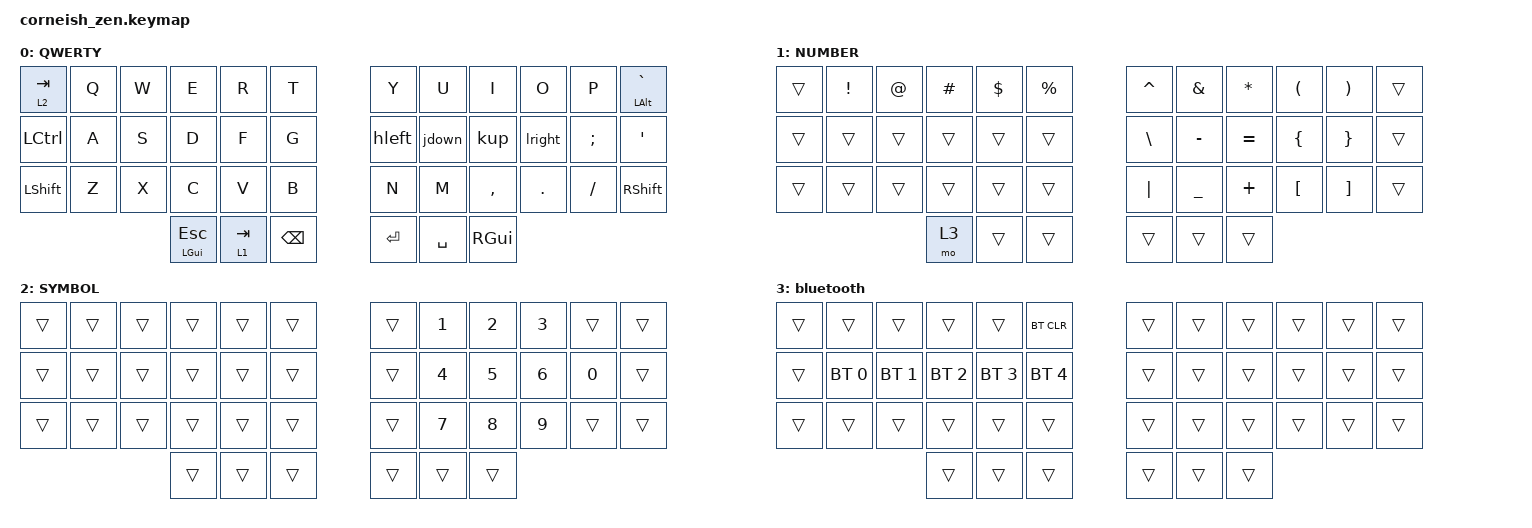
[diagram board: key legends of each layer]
/*
*
* Copyright (c) 2021 Darryl deHaan
* SPDX-License-Identifier: MIT
*
*/

#include <behaviors.dtsi>
#include <dt-bindings/zmk/bt.h>
#include <dt-bindings/zmk/keys.h>

/ {
    chosen {
        zmk,matrix-transform = &default_transform;

        // zmk,matrix-transform = &five_column_transform;
    };
};

/ {
    behaviors {
        hleft: hleft {
            compatible = "zmk,behavior-mod-morph";
            label = "HLEFT";
            bindings = <&kp H>, <&kp LEFT_ARROW>;

            #binding-cells = <0>;
            mods = <(MOD_LCTL)>;
        };

        jdown: jdown {
            compatible = "zmk,behavior-mod-morph";
            label = "JDOWN";
            bindings = <&kp J>, <&kp DOWN_ARROW>;

            #binding-cells = <0>;
            mods = <(MOD_LCTL)>;
        };

        kup: kup {
            compatible = "zmk,behavior-mod-morph";
            label = "KUP";
            bindings = <&kp K>, <&kp UP_ARROW>;

            #binding-cells = <0>;
            mods = <(MOD_LCTL)>;
        };

        lright: lright {
            compatible = "zmk,behavior-mod-morph";
            label = "LRIGHT";
            bindings = <&kp L>, <&kp RIGHT_ARROW>;

            #binding-cells = <0>;
            mods = <(MOD_LCTL)>;
        };

        ctrltab: ctrltab {
            compatible = "zmk,behavior-mod-morph";
            label = "CTRLTAB";
            bindings = <&kp LCTRL>, <&kp TAB>;

            #binding-cells = <0>;
            mods = <(MOD_LGUI|MOD_RGUI)>;
        };
    };

    keymap {
        compatible = "zmk,keymap";

        default_layer {
            display-name = "QWERTY";

            // --------------------------------------------------------------------------------
            // |  TAB |  Q  |  W  |  E  |  R  |  T  |   |  Y  |  U   |  I  |  O  |  P  | BKSP |
            // | CTRL |  A  |  S  |  D  |  F  |  G  |   |  H  |  J   |  K  |  L  |  ;  |  '   |
            // | SHFT |  Z  |  X  |  C  |  V  |  B  |   |  N  |  M   |  ,  |  .  |  /  | ESC  |
            //                    | GUI | LWR | SPC |   | ENT | RSE  | ALT |

            bindings = <
&lt 2 TAB  &kp Q  &kp W  &kp E            &kp R      &kp T            &kp Y    &kp U      &kp I      &kp O    &kp P     &mt LEFT_ALT GRAVE
&kp LCTRL  &kp A  &kp S  &kp D            &kp F      &kp G            &hleft   &jdown     &kup       &lright  &kp SEMI  &kp SQT
&kp LSHFT  &kp Z  &kp X  &kp C            &kp V      &kp B            &kp N    &kp M      &kp COMMA  &kp DOT  &kp FSLH  &kp RSHIFT
                         &mt LGUI ESCAPE  &lt 1 TAB  &kp BACKSPACE    &kp RET  &kp SPACE  &kp RGUI
            >;
        };

        lower_layer {
            display-name = "NUMBER";

            // -----------------------------------------------------------------------------------------
            // |  TAB |  1  |  2  |  3  |  4  |  5  |   |  6  |  7  |  8  |  9  |  0  | BKSP |
            // | BTCLR| BT1 | BT2 | BT3 | BT4 | BT5 |   | LFT | DWN |  UP | RGT |     |      |
            // | SHFT |     |     |     |     |     |   |     |     |     |     |     |      |
            //                    | GUI |     | SPC |   | ENT |     | ALT |

            bindings = <
&trans  &kp EXCLAMATION  &kp AT_SIGN  &kp HASH  &kp DOLLAR  &kp PERCENT    &kp CARET      &kp AMPERSAND   &kp ASTERISK  &kp LEFT_PARENTHESIS  &kp RIGHT_PARENTHESIS  &trans
&trans  &trans           &trans       &trans    &trans      &trans         &kp BACKSLASH  &kp MINUS       &kp EQUAL     &kp LEFT_BRACE        &kp RIGHT_BRACE        &trans
&trans  &trans           &trans       &trans    &trans      &trans         &kp PIPE       &kp UNDERSCORE  &kp PLUS      &kp LEFT_BRACKET      &kp RIGHT_BRACKET      &trans
                                      &mo 3     &trans      &trans         &trans         &trans          &trans
            >;
        };

        raise_layer {
            display-name = "SYMBOL";

            // -----------------------------------------------------------------------------------------
            // |  TAB |  !  |  @  |  #  |  $  |  %  |   |  ^  |  &  |  *  |  (  |  )  | BKSP |
            // | CTRL |     |     |     |     |     |   |  -  |  =  |  [  |  ]  |  \  |  `   |
            // | SHFT |     |     |     |     |     |   |  _  |  +  |  {  |  }  | "|" |  ~   |
            //                    | GUI |     | SPC |   | ENT |     | ALT |

            bindings = <
&trans  &trans  &trans  &trans  &trans  &trans    &trans  &kp NUMBER_1  &kp NUMBER_2  &kp NUMBER_3  &trans        &trans
&trans  &trans  &trans  &trans  &trans  &trans    &trans  &kp NUMBER_4  &kp NUMBER_5  &kp NUMBER_6  &kp NUMBER_0  &trans
&trans  &trans  &trans  &trans  &trans  &trans    &trans  &kp NUMBER_7  &kp NUMBER_8  &kp NUMBER_9  &trans        &trans
                        &trans  &trans  &trans    &trans  &trans        &trans
            >;
        };

        bluetooth {
            bindings = <
&trans  &trans        &trans        &trans        &trans        &bt BT_CLR      &trans  &trans  &trans  &trans  &trans  &trans
&trans  &bt BT_SEL 0  &bt BT_SEL 1  &bt BT_SEL 2  &bt BT_SEL 3  &bt BT_SEL 4    &trans  &trans  &trans  &trans  &trans  &trans
&trans  &trans        &trans        &trans        &trans        &trans          &trans  &trans  &trans  &trans  &trans  &trans
                                    &trans        &trans        &trans          &trans  &trans  &trans
            >;
        };
    };
};
